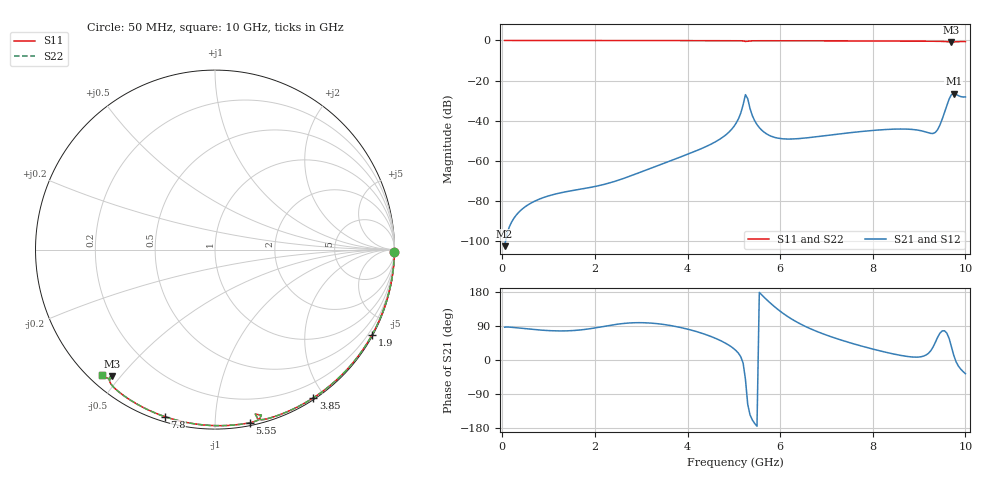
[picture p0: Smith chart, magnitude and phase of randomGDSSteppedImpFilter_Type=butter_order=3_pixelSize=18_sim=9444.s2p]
! freq	dB(S11)	phase(S11)	dB(S12)	phase(S12)
!  dB(S21)	phase(S21)	dB(S22)	phase(S22)
!S-par simulation data
#  GHz  S  DB  R 50
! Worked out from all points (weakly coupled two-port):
!   200 points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, 50 MHz to 10 GHz, reference 50 ohm
!   highest |S21| = -26.45 dB at 9.75 GHz (marker M1); lowest = -102.6 dB at 50 MHz (marker M2)
!   lowest |S11| = -0.8 dB at 9.7 GHz (marker M3), VSWR 21.42, Z = 2.86 - j23.7 ohm
!   |S11| at or under -10 dB: nowhere
!   |S22| runs from -0.8 to 0.0 dB; largest |S21 - S12| = 0
!   S11 on the Smith chart (normalised r, x): 50 MHz: open; 1.9 GHz: 0.03, -3.93; 3.85 GHz: 0.02, -1.86; 5.55 GHz: 0.02, -1.22; 7.8 GHz: 0.02, -0.74; 10 GHz: 0.04, -0.44
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0.05  -0.00 -0.8  -102.59 86.5  -102.59 86.5  -0.00 -0.8
0.7  -0.01 -10.6  -80.14 80.2  -80.14 80.2  -0.01 -10.6
1.75  -0.03 -26.3  -73.92 80.2  -73.92 80.2  -0.03 -26.3
1.9  -0.04 -28.5  -73.29 82.7  -73.29 82.7  -0.04 -28.5
3.4  -0.07 -50.1  -62.03 95.1  -62.03 95.1  -0.07 -50.1
3.85  -0.08 -56.4  -58.10 85.8  -58.10 85.8  -0.08 -56.4
4.65  -0.10 -67.4  -49.92 54.7  -49.92 54.7  -0.10 -67.4
5.05  -0.12 -73.0  -41.21 24.4  -41.21 24.4  -0.12 -73.0
5.15  -0.15 -74.7  -36.20 8.5  -36.20 8.5  -0.15 -74.7
5.25  -0.50 -76.2  -27.03 -50.3  -27.03 -50.3  -0.50 -76.2
5.3  -0.38 -74.4  -29.04 -117.2  -29.04 -117.2  -0.38 -74.3
5.4  -0.16 -76.3  -37.54 -158.3  -37.54 -158.3  -0.16 -76.3
5.55  -0.14 -78.6  -43.47 178.4  -43.47 178.4  -0.14 -78.6
5.95  -0.15 -83.9  -48.72 133.5  -48.72 133.5  -0.15 -83.9
6.7  -0.18 -93.4  -48.25 80.1  -48.25 80.1  -0.18 -93.4
7.8  -0.25 -106.7  -45.30 35.3  -45.30 35.3  -0.25 -106.7
8.35  -0.29 -113.3  -44.33 18.5  -44.33 18.5  -0.29 -113.3
9.35  -0.41 -125.5  -45.89 46.3  -45.89 46.3  -0.41 -125.5
9.45  -0.44 -126.9  -42.16 70.7  -42.16 70.7  -0.44 -126.9
9.7  -0.81 -129.2  -26.97 34.5  -26.97 34.5  -0.81 -129.2
9.75  -0.77 -128.8  -26.45 12.0  -26.45 12.0  -0.77 -128.8
10  -0.55 -132.0  -28.14 -36.1  -28.14 -36.1  -0.55 -132.0
